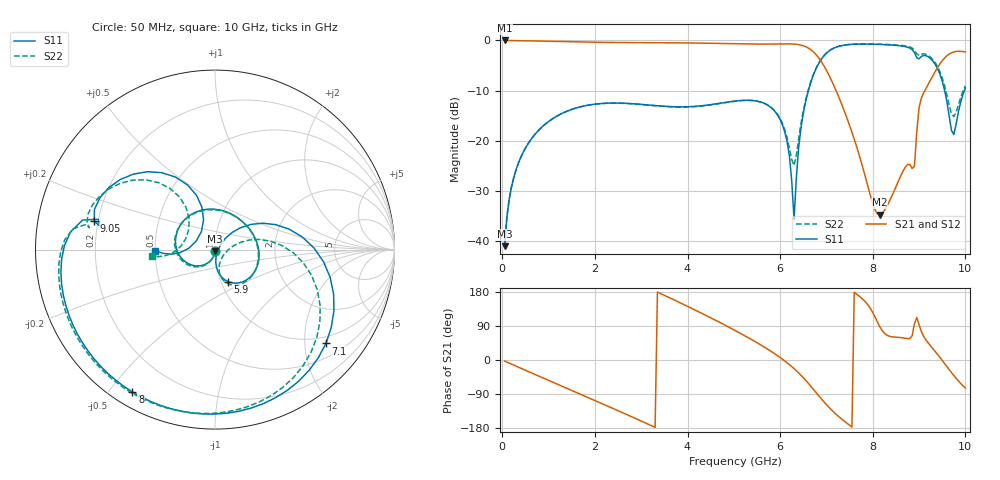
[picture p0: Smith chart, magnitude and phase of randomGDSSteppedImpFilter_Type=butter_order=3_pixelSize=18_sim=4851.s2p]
! freq	dB(S11)	phase(S11)	dB(S12)	phase(S12)
!  dB(S21)	phase(S21)	dB(S22)	phase(S22)
!S-par simulation data
#  GHz  S  DB  R 50
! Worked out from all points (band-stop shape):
!   200 points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, 50 MHz to 10 GHz, reference 50 ohm
!   highest |S21| = -0.01 dB at 50 MHz (marker M1); lowest = -34.8 dB at 8.15 GHz (marker M2)
!   |S21| within 3 dB of the highest: start of sweep to 6.792 GHz; 9.609 GHz to end of sweep
!   lowest |S11| = -41.1 dB at 50 MHz (marker M3), VSWR 1.02, Z = 50 - j0.884 ohm
!   |S11| at or under -10 dB: start of sweep to 6.61 GHz; 9.552 GHz to 9.98 GHz (427.9 MHz wide, 4.38 % of centre)
!   |S22| runs from -41.1 to -0.7 dB; largest |S21 - S12| = 0
!   S11 on the Smith chart (normalised r, x): 50 MHz: 1.00, -0.02; 5.9 GHz: 1.08, -0.40; 7.1 GHz: 0.82, -2.49; 8 GHz: 0.06, -0.57; 9.05 GHz: 0.18, +0.11; 10 GHz: 0.50, -0.01
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0.05  -41.07 -91.5  -0.01 -2.8  -0.01 -2.8  -41.07 -91.3
0.2  -29.19 -101.1  -0.02 -10.9  -0.02 -10.9  -29.19 -100.4
0.5  -21.49 -118.4  -0.07 -27.1  -0.07 -27.1  -21.48 -116.7
1.75  -13.11 172.4  -0.33 -93.6  -0.33 -93.6  -13.12 178.7
3.4  -13.08 81.9  -0.46 176.5  -0.46 176.5  -13.11 89.6
4.35  -13.00 30.3  -0.54 120.6  -0.54 120.6  -13.04 30.3
5.05  -12.08 -10.1  -0.67 76.4  -0.67 76.4  -12.11 -15.8
5.9  -14.32 -67.9  -0.71 15.1  -0.71 15.1  -14.23 -71.4
6.15  -20.22 -85.5  -0.68 -7.2  -0.68 -7.2  -19.40 -78.0
6.3  -35.74 -21.7  -0.73 -22.7  -0.73 -22.7  -24.95 -30.4
6.45  -17.44 45.1  -0.93 -40.3  -0.93 -40.3  -16.56 16.0
6.7  -7.33 15.3  -2.13 -74.7  -2.13 -74.7  -7.21 -2.3
7.1  -1.84 -40.2  -7.81 -130.6  -7.81 -130.6  -1.81 -52.8
7.5  -0.82 -81.7  -16.98 -172.2  -16.98 -172.2  -0.79 -91.2
8  -0.75 -120.2  -32.59 125.4  -32.59 125.4  -0.71 -126.1
8.15  -0.80 -130.7  -34.81 88.2  -34.81 88.2  -0.74 -135.5
8.35  -0.89 -144.7  -32.28 63.1  -32.28 63.1  -0.82 -147.8
8.9  -2.43 167.4  -25.11 95.6  -25.11 95.6  -1.95 171.6
9.05  -3.20 166.7  -11.48 74.9  -11.48 74.9  -2.76 168.5
9.4  -5.66 124.7  -5.41 14.9  -5.41 14.9  -5.25 134.7
9.75  -18.78 155.9  -2.30 -41.0  -2.30 -41.0  -15.21 159.4
10  -9.52 -179.1  -2.30 -74.4  -2.30 -74.4  -9.06 -174.0
